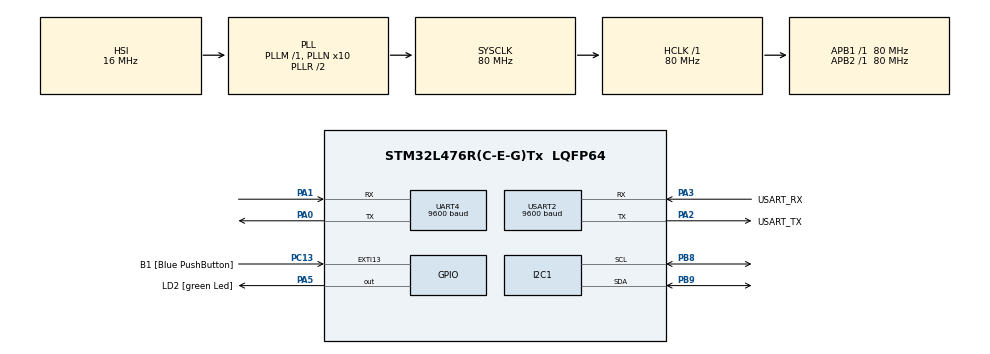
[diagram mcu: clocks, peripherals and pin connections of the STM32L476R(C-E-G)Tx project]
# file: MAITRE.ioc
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I2C1.Timing=0x10909CEC
Mcu.Family=STM32L4
Mcu.Name=STM32L476R(C-E-G)Tx
Mcu.Package=LQFP64
NVIC.PriorityGroup=NVIC_PRIORITYGROUP_4
NVIC.UART4_IRQn=true\:0\:0\:false\:false\:true\:true\:true
NVIC.USART2_IRQn=true\:0\:0\:false\:false\:true\:true\:true
PA0.Mode=Asynchronous
PA0.Signal=UART4_TX
PA1.Mode=Asynchronous
PA1.Signal=UART4_RX
PA13\ (JTMS-SWDIO).GPIO_Label=TMS
PA13\ (JTMS-SWDIO).Mode=Serial_Wire
PA13\ (JTMS-SWDIO).Signal=SYS_JTMS-SWDIO
PA14\ (JTCK-SWCLK).GPIO_Label=TCK
PA14\ (JTCK-SWCLK).Mode=Serial_Wire
PA14\ (JTCK-SWCLK).Signal=SYS_JTCK-SWCLK
PA2.GPIO_Label=USART_TX
PA2.GPIO_Mode=GPIO_MODE_AF_PP
PA2.GPIO_PuPd=GPIO_NOPULL
PA2.GPIO_Speed=GPIO_SPEED_FREQ_VERY_HIGH
PA2.Mode=Asynchronous
PA2.Signal=USART2_TX
PA3.GPIO_Label=USART_RX
PA3.GPIO_Mode=GPIO_MODE_AF_PP
PA3.GPIO_PuPd=GPIO_NOPULL
PA3.GPIO_Speed=GPIO_SPEED_FREQ_VERY_HIGH
PA3.Mode=Asynchronous
PA3.Signal=USART2_RX
PA5.GPIO_Label=LD2 [green Led]
PA5.GPIO_ModeDefaultOutputPP=GPIO_MODE_OUTPUT_PP
PA5.GPIO_PuPd=GPIO_NOPULL
PA5.GPIO_Speed=GPIO_SPEED_FREQ_LOW
PA5.Signal=GPIO_Output
PB3\ (JTDO-TRACESWO).GPIO_Label=SWO
PB3\ (JTDO-TRACESWO).Signal=SYS_JTDO-SWO
PB8.Mode=I2C
PB8.Signal=I2C1_SCL
PB9.Mode=I2C
PB9.Signal=I2C1_SDA
PC13.GPIO_Label=B1 [Blue PushButton]
PC13.GPIO_ModeDefaultEXTI=GPIO_MODE_IT_FALLING
PC13.GPIO_PuPd=GPIO_NOPULL
PC13.Signal=GPXTI13
PC14-OSC32_IN\ (PC14).Mode=LSE-External-Oscillator
PC14-OSC32_IN\ (PC14).Signal=RCC_OSC32_IN
PC15-OSC32_OUT\ (PC15).Mode=LSE-External-Oscillator
PC15-OSC32_OUT\ (PC15).Signal=RCC_OSC32_OUT
PH0-OSC_IN\ (PH0).Signal=RCC_OSC_IN
PH1-OSC_OUT\ (PH1).Signal=RCC_OSC_OUT
ProjectManager.HeapSize=0x200
ProjectManager.StackSize=0x400
ProjectManager.TargetToolchain=STM32CubeIDE
RCC.ADCFreq_Value=64000000
RCC.AHBFreq_Value=80000000
RCC.APB1Freq_Value=80000000
RCC.APB1TimFreq_Value=80000000
RCC.APB2Freq_Value=80000000
RCC.APB2TimFreq_Value=80000000
RCC.CortexFreq_Value=80000000
RCC.HCLKFreq_Value=80000000
RCC.HSE_VALUE=8000000
RCC.HSI_VALUE=16000000
RCC.MSI_VALUE=4000000
RCC.PLLN=10
RCC.PLLSourceVirtual=RCC_PLLSOURCE_HSI
RCC.PREFETCH_ENABLE=1
RCC.SYSCLKFreq_VALUE=80000000
RCC.SYSCLKSource=RCC_SYSCLKSOURCE_PLLCLK
RCC.USBFreq_Value=64000000
RCC.VCOOutputFreq_Value=160000000
UART4.BaudRate=9600
USART2.BaudRate=9600
USART2.VirtualMode-Asynchronous=VM_ASYNC
board=NUCLEO-L476RG

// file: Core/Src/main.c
/* USER CODE BEGIN Header */
/**
  ******************************************************************************
  * @file           : main.c
  * @brief          : Main program body
  ******************************************************************************
  * @attention
  *
  * Copyright (c) 2022 STMicroelectronics.
  * All rights reserved.
  *
  * This software is licensed under terms that can be found in the LICENSE file
  * in the root directory of this software component.
  * If no LICENSE file comes with this software, it is provided AS-IS.
  *
  ******************************************************************************
  */
/* USER CODE END Header */
#include "main.h"
#include "i2c.h"
#include "usart.h"
#include "gpio.h"

/* USER CODE BEGIN Includes */
#include <string.h>
#include "LCD.h"
#include "caracter.h"
/* USER CODE END Includes */

/* USER CODE BEGIN PTD */
uint8_t RX_BUFFER[5] = {0};
/* USER CODE END PTD */

/* USER CODE BEGIN PD */
static rgb_lcd ok;
/* USER CODE END PD */

void SystemClock_Config(void);

/* USER CODE BEGIN 0 */
void HAL_UART_RxCptlCallBack(UART_HandleTypeDef *huart)
{
	if(huart->Instance ==huart4.Instance)
	{
		HAL_UART_Receive_IT(&huart4, RX_BUFFER, 5);

	}

}
/* USER CODE END 0 */

int main(void)
{

  /* MCU Configuration--------------------------------------------------------*/

  /* Reset of all peripherals, Initializes the Flash interface and the Systick. */
  HAL_Init();

  /* Configure the system clock */
  SystemClock_Config();

  /* Initialize all configured peripherals */
  MX_GPIO_Init();
  MX_USART2_UART_Init();
  MX_UART4_Init();
  MX_I2C1_Init();
  /* USER CODE BEGIN 2 */
lcd_init(&hi2c1, &ok);
lcd_position(&hi2c1,0,0);
lcd_print(&hi2c1, "Temp : ");
lcd_position(&hi2c1,0,1);
lcd_print(&hi2c1, "Hum : ");
reglagecouleur(150,150,30);
TMP_init(hi2c1);
  /* USER CODE END 2 */
  /* Infinite loop */
  /* USER CODE BEGIN WHILE */
  while (1)
  {

	  HAL_UART_Receive_IT(&huart4, RX_BUFFER, 5);
	  HAL_UART_Transmit(&huart2, RX_BUFFER, 5,1000);
	  HAL_Delay(500);
	  HAL_UART_Transmit(&huart2, "ok\r\n", 4,1000);
	  HAL_Delay(500);

	  //Ajoute affichage LCD
if (RX_BUFFER[4]=='H')
{
	  lcd_position(&hi2c1,12,1);
	  lcd_print(&hi2c1,RX_BUFFER);
}

else if(RX_BUFFER[4]=='T')
{
	lcd_position(&hi2c1,12,0);
	lcd_print(&hi2c1,RX_BUFFER);

}

    /* USER CODE END WHILE */

  }
}

void SystemClock_Config(void)
{
  RCC_OscInitTypeDef RCC_OscInitStruct = {0};
  RCC_ClkInitTypeDef RCC_ClkInitStruct = {0};

  /** Configure the main internal regulator output voltage
  */
  if (HAL_PWREx_ControlVoltageScaling(PWR_REGULATOR_VOLTAGE_SCALE1) != HAL_OK)
  {
    Error_Handler();
  }
  /** Initializes the RCC Oscillators according to the specified parameters
  * in the RCC_OscInitTypeDef structure.
  */
  RCC_OscInitStruct.OscillatorType = RCC_OSCILLATORTYPE_HSI;
  RCC_OscInitStruct.HSIState = RCC_HSI_ON;
  RCC_OscInitStruct.HSICalibrationValue = RCC_HSICALIBRATION_DEFAULT;
  RCC_OscInitStruct.PLL.PLLState = RCC_PLL_ON;
  RCC_OscInitStruct.PLL.PLLSource = RCC_PLLSOURCE_HSI;
  RCC_OscInitStruct.PLL.PLLM = 1;
  RCC_OscInitStruct.PLL.PLLN = 10;
  RCC_OscInitStruct.PLL.PLLP = RCC_PLLP_DIV7;
  RCC_OscInitStruct.PLL.PLLQ = RCC_PLLQ_DIV2;
  RCC_OscInitStruct.PLL.PLLR = RCC_PLLR_DIV2;
  if (HAL_RCC_OscConfig(&RCC_OscInitStruct) != HAL_OK)
  {
    Error_Handler();
  }
  /** Initializes the CPU, AHB and APB buses clocks
  */
  RCC_ClkInitStruct.ClockType = RCC_CLOCKTYPE_HCLK|RCC_CLOCKTYPE_SYSCLK
                              |RCC_CLOCKTYPE_PCLK1|RCC_CLOCKTYPE_PCLK2;
  RCC_ClkInitStruct.SYSCLKSource = RCC_SYSCLKSOURCE_PLLCLK;
  RCC_ClkInitStruct.AHBCLKDivider = RCC_SYSCLK_DIV1;
  RCC_ClkInitStruct.APB1CLKDivider = RCC_HCLK_DIV1;
  RCC_ClkInitStruct.APB2CLKDivider = RCC_HCLK_DIV1;

  if (HAL_RCC_ClockConfig(&RCC_ClkInitStruct, FLASH_LATENCY_4) != HAL_OK)
  {
    Error_Handler();
  }
}

void Error_Handler(void)
{
  __disable_irq();
  while (1)
  {
  }
}
